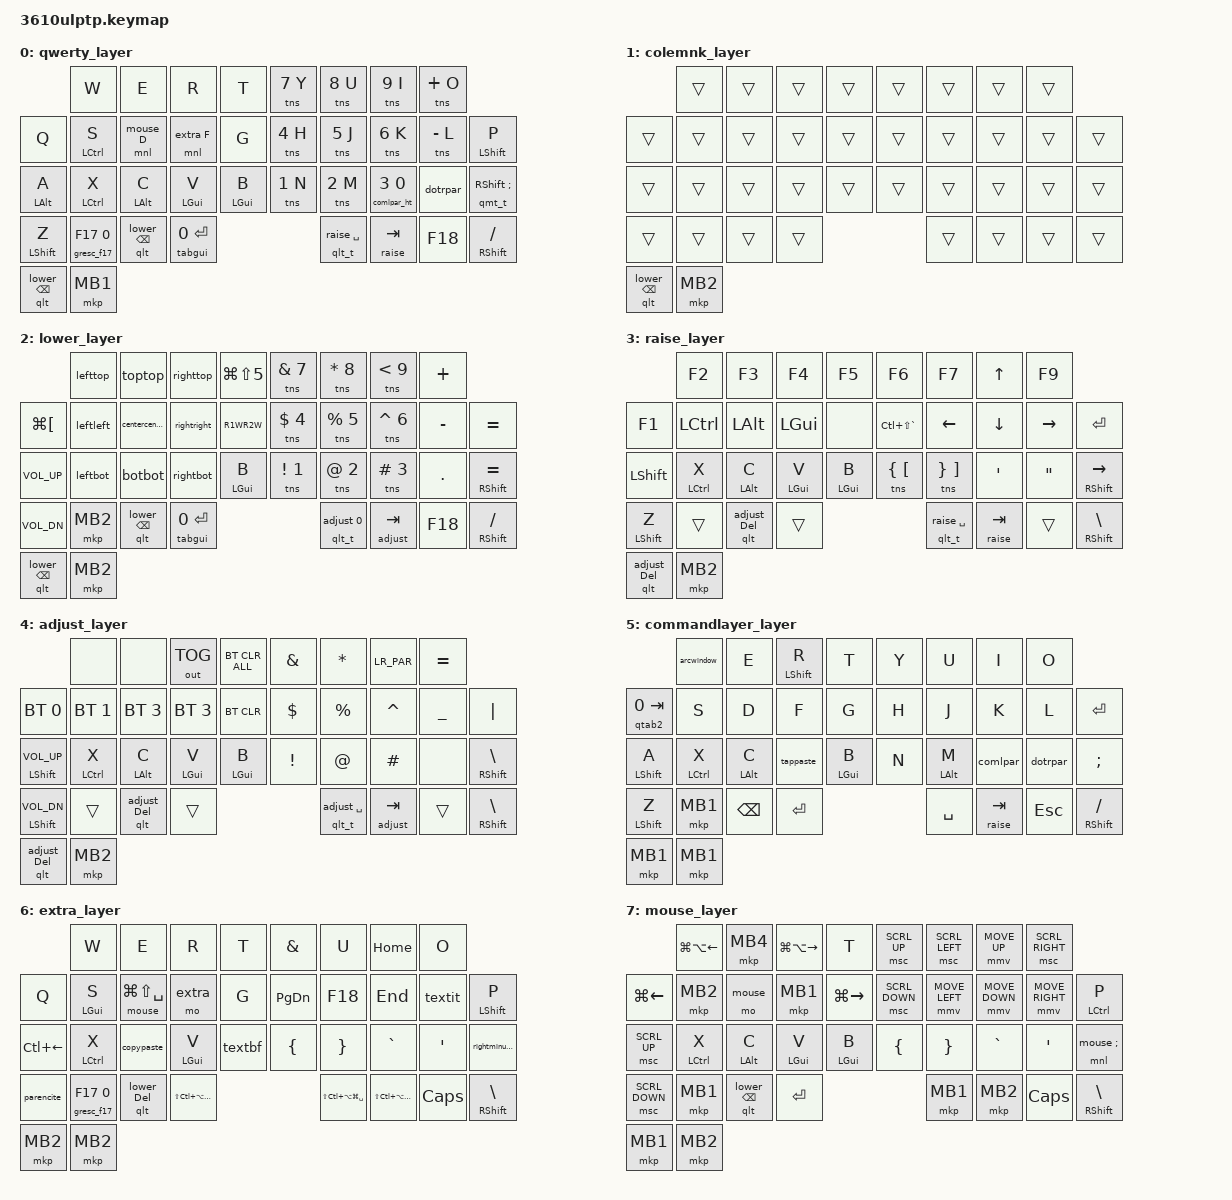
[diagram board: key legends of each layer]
/*
 * Copyright (c) 2020 The ZMK Contributors
 *;
 * SPDX-License-Identifier: MIT

west build -d build/3610ulptp_l -p -b xiao_ble//zmk -- -DSHIELD=3610ulptp_left
west build -d build/3610ulptp_r -p -b xiao_ble//zmk -- -DSHIELD=3610ulptp_right
west build -d build/3610ulptp_tp -p -b xiao_ble//zmk -- -DSHIELD=3610ulptp_tp
west build -d build/xiao_ble_reset -p -b xiao_ble//zmk -- -DSHIELD=settings_reset

NOTE: do NOT pass -DZMK_EXTRA_MODULES=".../cirque-input-module-main" anymore.
Current Zephyr ships its own cirque,pinnacle driver/binding; the external module
collides with it (duplicate INPUT_PINNACLE Kconfig -> recursive dependency, and
duplicate cirque,pinnacle-spi DTS binding). 36cirque.overlay already uses the
in-tree binding (data-ready-gpios).

docker cp naughty_cohen:/workspaces/zmk/app/build/3610ulptp_l/zephyr/zmk.uf2 "/Users/song100/Library/Mobile Documents/com~apple~CloudDocs/Keyboard/36firmware/3610ulptp_left.uf2"
docker cp naughty_cohen:/workspaces/zmk/app/build/3610ulptp_r/zephyr/zmk.uf2 "/Users/song100/Library/Mobile Documents/com~apple~CloudDocs/Keyboard/36firmware/3610ulptp_right.uf2"
docker cp naughty_cohen:/workspaces/zmk/app/build/3610ulptp_tp/zephyr/zmk.uf2 "/Users/song100/Library/Mobile Documents/com~apple~CloudDocs/Keyboard/36firmware/3610ulptp_tp.uf2"
docker cp naughty_cohen:/workspaces/zmk/app/build/xiao_ble_reset/zephyr/zmk.uf2 "/Users/song100/Library/Mobile Documents/com~apple~CloudDocs/Keyboard/36firmware/3610ulptp_reset.uf2"
 */


// Macros, behaviors, combos, and global settings are in:
#include "../369p/369p_behaviors.dtsi"

// ------------------------------------------------------------------
// Keymap layers
// ------------------------------------------------------------------
// Positions 0-35 are identical to 369ulptp (combos in 369p_behaviors.dtsi
// depend on this). The last line of every layer is the two NEW v10 center
// thumb keys, appended as positions 36 (left, RC(3,1)) and 37 (right, RC(3,8)).
/{
    keymap {
        compatible = "zmk,keymap";

        qwerty_layer {
            bindings = <
                    &kp W           &kp E               &kp R               &kp T           &tns N7 Y         &tns N8 U         &tns N9 I        &tns PLUS O
    &kp Q           &bhm LCTL S     &mnl mouse D        &mnl extra F        &kp G           &tns N4 H         &tns N5 J         &tns N6 K        &tns MINUS L &bhm LSHFT P
    &bhm LALT A     &bhm LCTRL X    &bhm LALT C         &bhm LGUI V         &bhm LGUI B     &tns N1 N         &tns N2 M         &comlpar_ht N3 0 &dotrpar     &qmt_t RSHFT SEMI
    &bhm LSHFT Z                    &gresc_f17 F17 0    &qlt lower BSPC     &tabgui 0 RET   &qlt_t raise SPACE  &lt raise TAB     &kp F18                       &mt RSHFT FSLH
    &qlt lower BSPC        &mkp MB1
                >;
        };
        colemnk_layer {
            bindings = <
                    &trans          &trans              &trans              &trans          &trans              &trans              &trans          &trans
    &trans          &trans          &trans              &trans              &trans          &trans              &trans              &trans          &trans              &trans
    &trans          &trans          &trans              &trans              &trans          &trans              &trans              &trans          &trans              &trans
    &trans                          &trans              &trans              &trans          &trans              &trans              &trans                              &trans
    &qlt lower BSPC        &mkp MB2
            >;
        };
        lower_layer {
            bindings = <
                    &lefttop        &toptop             &righttop           &kp LG(LS(N5))  &tns AMPS N7        &tns ASTRK N8       &tns LT N9      &kp PLUS
    &kp LG(LBKT)    &leftleft       &centercenter       &rightright         &R1WR2W         &tns DLLR N4        &tns PRCNT N5       &tns CARET N6   &kp MINUS           &kp EQUAL
    &kp C_VOL_UP    &leftbot        &botbot             &rightbot           &bhm LGUI B     &tns EXCL N1        &tns AT N2          &tns POUND N3   &kp DOT             &mt RSHFT EQUAL
    &kp C_VOL_DN                    &mkp MB2            &qlt lower BSPC     &tabgui 0 RET   &qlt_t adjust N0        &lt adjust TAB      &kp F18                             &mt RSHFT FSLH
    &qlt lower BSPC        &mkp MB2
    >;
        };
        raise_layer {
            bindings = <
                    &kp F2          &kp F3              &kp F4              &kp F5          &kp F6              &kp F7              &kp UP          &kp F9
    &kp F1          &kp LCTL        &kp LALT            &kp LGUI            &none           &kp LC(LS(GRAVE))     &kp LEFT            &kp DOWN        &kp RIGHT           &kp RET
    &kp LSHFT       &bhm LCTRL X    &bhm LALT C         &bhm LGUI V         &bhm LGUI B     &tns LBRC LBKT      &tns RBRC RBKT      &kp SQT         &kp DQT             &mt RSHFT RIGHT
    &bhm LSHFT Z                    &trans              &qlt adjust DEL     &trans          &qlt_t raise SPACE    &lt raise TAB       &trans                              &mt RSHFT BSLH
    &qlt adjust DEL        &mkp MB2
    >;
        };
        adjust_layer {
            bindings = <
                    &none           &none               &out OUT_TOG        &bt BT_CLR_ALL  &kp AMPS            &kp ASTRK           &LR_PAR         &kp EQUAL
    &bt BT_SEL 0    &bt BT_SEL 1    &bt BT_SEL 3        &bt BT_SEL 3        &bt BT_CLR      &kp DLLR            &kp PRCNT           &kp CARET       &kp UNDER           &kp PIPE
    &bhm LSHFT C_VOL_UP &bhm LCTRL X &bhm LALT C        &bhm LGUI V         &bhm LGUI B     &kp EXCL            &kp AT              &kp POUND       &none               &mt RSHFT BSLH
    &bhm LSHFT C_VOL_DN             &trans              &qlt adjust DEL     &trans          &qlt_t adjust SPACE    &lt adjust TAB      &trans                              &mt RSHFT BSLH
    &qlt adjust DEL        &mkp MB2
    >;
        };
        commandlayer_layer {
            bindings = <
                    &arcwindow      &kp E               &bhm LSHFT R        &kp T           &kp Y               &kp U               &kp I           &kp O
    &qtab2 0 TAB    &kp S           &kp D               &kp F               &kp G           &kp H               &kp J               &kp K           &kp L               &kp RET
    &bhm LSHFT A    &bhm LCTRL X    &bhm LALT C         &tappaste           &bhm LGUI B     &kp N               &bhm LALT M         &comlpar        &dotrpar            &kp SEMI
    &bhm LSHFT Z                    &mkp MB1            &kp BSPC      &kp RET         &kp SPACE           &lt raise TAB       &kp ESC                             &mt RSHFT FSLH
    &mkp MB1        &mkp MB1
    >;
        };
        extra_layer {
            bindings = <
                    &kp W           &kp E               &kp R               &kp T           &kp AMPS            &kp U               &kp HOME           &kp O
    &kp Q           &bhm LGUI S     &mt mouse LG(LS(SPACE)) &mo extra       &kp G           &kp PG_DN           &kp F18             &kp END           &textit             &bhm LSHFT P
    &kp LC(LEFT)    &bhm LCTRL X    &copypaste          &bhm LGUI V         &textbf         &kp LBRC            &kp RBRC            &kp GRAVE       &kp SQT             &rightminusgt
    &parencite                      &gresc_f17 F17 0      &qlt lower DEL      &kp LS(LC(LA(LG(RET)))) &kp LS(LC(LA(LG(SPACE)))) &kp LS(LC(LA(LG(TAB)))) &kp CAPS         &mt RSHFT BSLH
    &mkp MB2        &mkp MB2
                >;
        };
        mouse_layer {
            bindings = <
                    &kp LG(LA(LEFT)) &mkp MB4           &kp LG(LA(RIGHT))   &kp T           &msc SCRL_UP        &msc SCRL_LEFT      &mmv MOVE_UP    &msc SCRL_RIGHT
    &kp LG(LEFT)    &mkp MB2        &mo mouse           &mkp MB1            &kp LG(RIGHT)   &msc SCRL_DOWN      &mmv MOVE_LEFT      &mmv MOVE_DOWN  &mmv MOVE_RIGHT     &bhm LCTL P
    &msc SCRL_UP    &bhm LCTRL X    &bhm LALT C         &bhm LGUI V         &bhm LGUI B     &kp LBRC            &kp RBRC            &kp GRAVE       &kp SQT             &mnl mouse SEMI
    &msc SCRL_DOWN                  &mkp MB1            &qlt lower BSPC     &kp RET         &mkp MB1            &mkp MB2            &kp CAPS                            &mt RSHFT BSLH
    &mkp MB1        &mkp MB2
                >;
        };
    };
};
